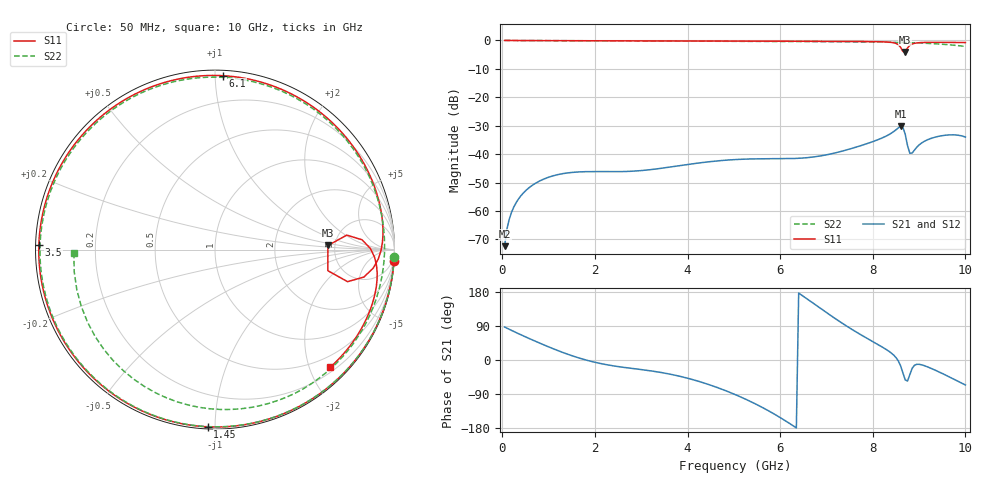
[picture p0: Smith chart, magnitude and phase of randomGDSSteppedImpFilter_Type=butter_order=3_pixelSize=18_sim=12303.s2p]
! freq	dB(S11)	phase(S11)	dB(S12)	phase(S12)
!  dB(S21)	phase(S21)	dB(S22)	phase(S22)
!S-par simulation data
#  GHz  S  DB  R 50
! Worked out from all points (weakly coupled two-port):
!   200 points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, 50 MHz to 10 GHz, reference 50 ohm
!   highest |S21| = -30.24 dB at 8.6 GHz (marker M1); lowest = -72.4 dB at 50 MHz (marker M2)
!   lowest |S11| = -4.0 dB at 8.7 GHz (marker M3), VSWR 4.40, Z = 219 + j16.6 ohm
!   |S11| at or under -10 dB: nowhere
!   |S22| runs from -2.1 to 0.0 dB; largest |S21 - S12| = 0
!   S11 on the Smith chart (normalised r, x): 50 MHz: 0, -32; 1.45 GHz: 0.01, -0.96; 3.5 GHz: 0.01, +0.01; 6.1 GHz: 0.03, +1.05; 10 GHz: 0.28, -2.35
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0.05  -0.00 -3.5  -72.40 87.0  -72.40 87.0  -0.00 -2.5
0.1  -0.01 -7.0  -66.40 84.0  -66.40 84.0  -0.01 -4.9
0.2  -0.02 -14.0  -60.46 78.1  -60.46 78.1  -0.01 -9.8
0.45  -0.04 -31.1  -53.76 63.8  -53.76 63.8  -0.03 -22.0
0.95  -0.07 -63.4  -48.43 37.2  -48.43 37.2  -0.06 -46.1
1.45  -0.10 -92.4  -46.54 13.6  -46.54 13.6  -0.09 -69.4
1.75  -0.11 -108.0  -46.20 1.9  -46.20 1.9  -0.10 -83.0
2.55  -0.14 -144.7  -46.17 -18.2  -46.17 -18.2  -0.14 -118.2
3.4  -0.16 -177.9  -45.07 -32.4  -45.07 -32.4  -0.18 -154.3
3.5  -0.16 178.4  -44.84 -34.5  -44.84 -34.5  -0.19 -158.5
4.3  -0.19 150.0  -43.01 -58.5  -43.01 -58.5  -0.24 167.1
5.05  -0.22 124.0  -41.90 -92.3  -41.90 -92.3  -0.29 133.4
6.1  -0.27 87.4  -41.61 -159.4  -41.61 -159.4  -0.36 82.5
6.7  -0.30 66.0  -41.05 151.0  -41.05 151.0  -0.40 51.6
7.55  -0.36 34.9  -37.99 80.8  -37.99 80.8  -0.48 6.7
8.35  -0.60 2.4  -33.13 22.9  -33.13 22.9  -0.63 -37.0
8.6  -2.39 -13.6  -30.24 -15.1  -30.24 -15.1  -0.71 -51.5
8.7  -4.02 2.1  -32.95 -52.4  -32.95 -52.4  -0.74 -57.6
8.8  -1.71 3.8  -39.68 -39.1  -39.68 -39.1  -0.78 -63.9
9.45  -0.66 -26.5  -33.64 -32.6  -33.64 -32.6  -1.27 -112.4
9.7  -0.69 -35.4  -33.21 -47.5  -33.21 -47.5  -1.60 -138.2
10  -0.75 -45.6  -34.00 -65.9  -34.00 -65.9  -2.09 -178.7
